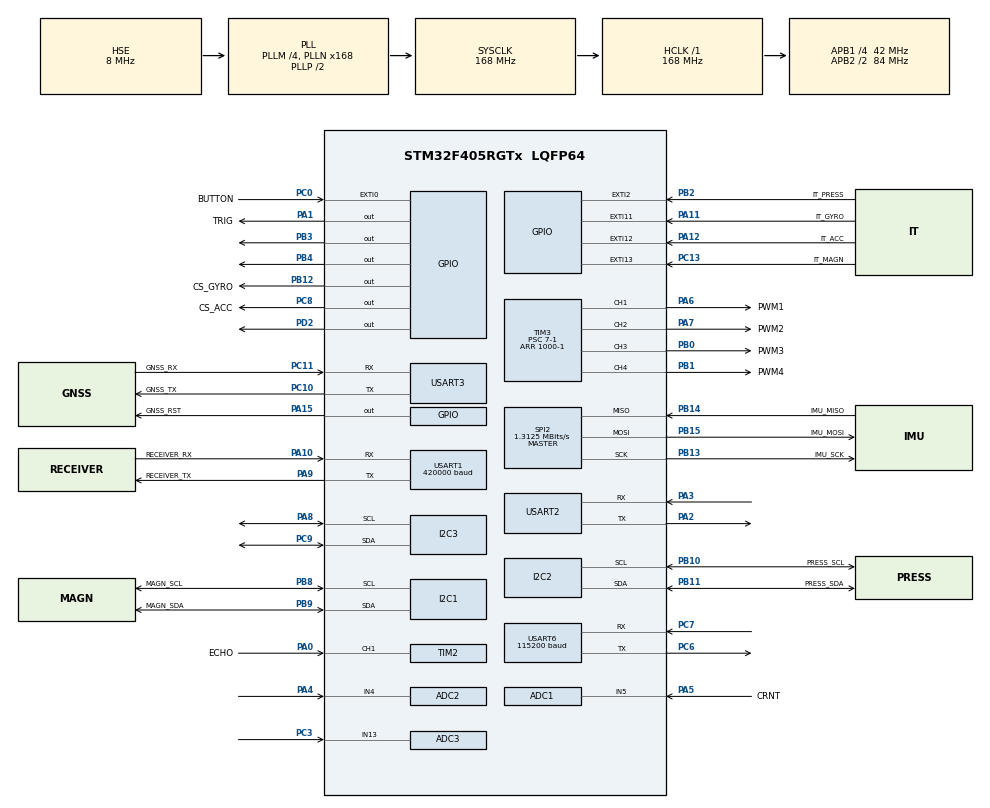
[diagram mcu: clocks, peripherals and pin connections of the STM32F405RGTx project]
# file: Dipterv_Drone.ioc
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ADC1.Channel-0\#ChannelRegularConversion=ADC_CHANNEL_5
ADC1.ClockPrescaler=ADC_CLOCK_SYNC_PCLK_DIV6
ADC1.NbrOfConversionFlag=1
ADC1.Rank-0\#ChannelRegularConversion=1
ADC1.SamplingTime-0\#ChannelRegularConversion=ADC_SAMPLETIME_3CYCLES
ADC1.master=1
ADC2.Channel-0\#ChannelRegularConversion=ADC_CHANNEL_4
ADC2.ClockPrescaler=ADC_CLOCK_SYNC_PCLK_DIV6
ADC2.NbrOfConversionFlag=1
ADC2.Rank-0\#ChannelRegularConversion=1
ADC2.SamplingTime-0\#ChannelRegularConversion=ADC_SAMPLETIME_3CYCLES
ADC3.Channel-0\#ChannelRegularConversion=ADC_CHANNEL_13
ADC3.ClockPrescaler=ADC_CLOCK_SYNC_PCLK_DIV6
ADC3.NbrOfConversionFlag=1
ADC3.Rank-0\#ChannelRegularConversion=1
ADC3.SamplingTime-0\#ChannelRegularConversion=ADC_SAMPLETIME_3CYCLES
Dma.Request0=USART1_RX
Dma.USART1_RX.0.Direction=DMA_PERIPH_TO_MEMORY
Dma.USART1_RX.0.FIFOMode=DMA_FIFOMODE_DISABLE
Dma.USART1_RX.0.Instance=DMA2_Stream2
Dma.USART1_RX.0.MemDataAlignment=DMA_MDATAALIGN_BYTE
Dma.USART1_RX.0.MemInc=DMA_MINC_ENABLE
Dma.USART1_RX.0.Mode=DMA_CIRCULAR
Dma.USART1_RX.0.PeriphDataAlignment=DMA_PDATAALIGN_BYTE
Dma.USART1_RX.0.PeriphInc=DMA_PINC_DISABLE
Dma.USART1_RX.0.Priority=DMA_PRIORITY_MEDIUM
FREERTOS.Tasks01=defaultTask,-1,500,StartDefaultTask,Default,NULL,Dynamic,NULL,NULL;Control,0,600,Start_Control,Default,NULL,Dynamic,NULL,NULL
I2C1.I2C_Mode=I2C_Fast
I2C2.I2C_Mode=I2C_Fast
I2C3.I2C_Mode=I2C_Fast
Mcu.Family=STM32F4
Mcu.Name=STM32F405RGTx
Mcu.Package=LQFP64
NVIC.DMA2_Stream2_IRQn=true\:5\:0\:false\:false\:true\:true\:false\:true\:true
NVIC.EXTI0_IRQn=true\:5\:0\:false\:false\:true\:true\:true\:true\:true
NVIC.EXTI15_10_IRQn=true\:5\:0\:false\:false\:true\:true\:true\:true\:true
NVIC.EXTI2_IRQn=true\:5\:0\:false\:false\:true\:true\:true\:true\:true
NVIC.PriorityGroup=NVIC_PRIORITYGROUP_4
NVIC.TIM2_IRQn=true\:5\:0\:false\:false\:true\:true\:true\:true\:true
NVIC.TIM6_DAC_IRQn=true\:5\:0\:false\:false\:true\:true\:true\:true\:true
NVIC.TIM7_IRQn=true\:5\:0\:false\:false\:true\:true\:true\:true\:true
NVIC.USART2_IRQn=true\:5\:0\:false\:false\:true\:true\:true\:true\:true
PA0-WKUP.GPIO_Label=ECHO
PA0-WKUP.Signal=S_TIM2_CH1_ETR
PA1.GPIO_Label=TRIG
PA1.Signal=GPIO_Output
PA10.GPIO_Label=RECEIVER_RX
PA10.Mode=Asynchronous
PA10.Signal=USART1_RX
PA11.GPIO_Label=IT_GYRO
PA11.GPIO_PuPd=GPIO_NOPULL
PA11.Signal=GPXTI11
PA12.GPIO_Label=IT_ACC
PA12.Signal=GPXTI12
PA13.Mode=Serial_Wire
PA13.Signal=SYS_JTMS-SWDIO
PA14.Mode=Serial_Wire
PA14.Signal=SYS_JTCK-SWCLK
PA15.GPIO_Label=GNSS_RST
PA15.Signal=GPIO_Output
PA2.Mode=Asynchronous
PA2.Signal=USART2_TX
PA3.Mode=Asynchronous
PA3.Signal=USART2_RX
PA4.Signal=ADCx_IN4
PA5.GPIO_Label=CRNT
PA5.Signal=ADCx_IN5
PA6.GPIO_Label=PWM1
PA6.Signal=S_TIM3_CH1
PA7.GPIO_Label=PWM2
PA7.Signal=S_TIM3_CH2
PA8.Mode=I2C
PA8.Signal=I2C3_SCL
PA9.GPIO_Label=RECEIVER_TX
PA9.Mode=Asynchronous
PA9.Signal=USART1_TX
PB0.GPIO_Label=PWM3
PB0.Signal=S_TIM3_CH3
PB1.GPIO_Label=PWM4
PB1.Signal=S_TIM3_CH4
PB10.GPIO_Label=PRESS_SCL
PB10.Mode=I2C
PB10.Signal=I2C2_SCL
PB11.GPIO_Label=PRESS_SDA
PB11.Mode=I2C
PB11.Signal=I2C2_SDA
PB12.GPIO_Label=CS_GYRO
PB12.Signal=GPIO_Output
PB13.GPIO_Label=IMU_SCK
PB13.Mode=Full_Duplex_Master
PB13.Signal=SPI2_SCK
PB14.GPIO_Label=IMU_MISO
PB14.Mode=Full_Duplex_Master
PB14.Signal=SPI2_MISO
PB15.GPIO_Label=IMU_MOSI
PB15.Mode=Full_Duplex_Master
PB15.Signal=SPI2_MOSI
PB2.GPIO_Label=IT_PRESS
PB2.Signal=GPXTI2
PB3.Signal=GPIO_Output
PB4.Signal=GPIO_Output
PB8.GPIO_Label=MAGN_SCL
PB8.Mode=I2C
PB8.Signal=I2C1_SCL
PB9.GPIO_Label=MAGN_SDA
PB9.Mode=I2C
PB9.Signal=I2C1_SDA
PC0.GPIO_Label=BUTTON
PC0.Signal=GPXTI0
PC10.GPIO_Label=GNSS_TX
PC10.Mode=Asynchronous
PC10.Signal=USART3_TX
PC11.GPIO_Label=GNSS_RX
PC11.Mode=Asynchronous
PC11.Signal=USART3_RX
PC13-ANTI_TAMP.GPIO_Label=IT_MAGN
PC13-ANTI_TAMP.Signal=GPXTI13
PC3.Signal=ADCx_IN13
PC6.Mode=Asynchronous
PC6.Signal=USART6_TX
PC7.Mode=Asynchronous
PC7.Signal=USART6_RX
PC8.GPIO_Label=CS_ACC
PC8.Signal=GPIO_Output
PC9.Mode=I2C
PC9.Signal=I2C3_SDA
PD2.Signal=GPIO_Output
PH0-OSC_IN.Mode=HSE-External-Oscillator
PH0-OSC_IN.Signal=RCC_OSC_IN
PH1-OSC_OUT.Mode=HSE-External-Oscillator
PH1-OSC_OUT.Signal=RCC_OSC_OUT
ProjectManager.HeapSize=0x200
ProjectManager.StackSize=0x400
ProjectManager.TargetToolchain=STM32CubeIDE
RCC.48MHZClocksFreq_Value=84000000
RCC.AHBFreq_Value=168000000
RCC.APB1CLKDivider=RCC_HCLK_DIV4
RCC.APB1Freq_Value=42000000
RCC.APB1TimFreq_Value=84000000
RCC.APB2CLKDivider=RCC_HCLK_DIV2
RCC.APB2Freq_Value=84000000
RCC.APB2TimFreq_Value=168000000
RCC.CortexFreq_Value=168000000
RCC.HCLKFreq_Value=168000000
RCC.HSE_VALUE=8000000
RCC.HSI_VALUE=16000000
RCC.LSE_VALUE=32768
RCC.PLLM=4
RCC.PLLN=168
RCC.PLLSourceVirtual=RCC_PLLSOURCE_HSE
RCC.SYSCLKFreq_VALUE=168000000
RCC.SYSCLKSource=RCC_SYSCLKSOURCE_PLLCLK
RCC.VCOOutputFreq_Value=336000000
SH.ADCx_IN13.0=ADC3_IN13,IN13
SH.ADCx_IN4.0=ADC2_IN4,IN4
SH.ADCx_IN5.0=ADC1_IN5,IN5
SH.S_TIM2_CH1_ETR.0=TIM2_CH1,Input_Capture1_from_TI1
SH.S_TIM3_CH1.0=TIM3_CH1,PWM Generation1 CH1
SH.S_TIM3_CH2.0=TIM3_CH2,PWM Generation2 CH2
SH.S_TIM3_CH3.0=TIM3_CH3,PWM Generation3 CH3
SH.S_TIM3_CH4.0=TIM3_CH4,PWM Generation4 CH4
SPI2.BaudRatePrescaler=SPI_BAUDRATEPRESCALER_32
SPI2.CLKPhase=SPI_PHASE_1EDGE
SPI2.CLKPolarity=SPI_POLARITY_LOW
SPI2.CalculateBaudRate=1.3125 MBits/s
SPI2.DataSize=SPI_DATASIZE_8BIT
SPI2.Direction=SPI_DIRECTION_2LINES
SPI2.FirstBit=SPI_FIRSTBIT_MSB
SPI2.Mode=SPI_MODE_MASTER
SPI2.VirtualType=VM_MASTER
TIM10.Prescaler=168-1
TIM2.Channel-Input_Capture1_from_TI1=TIM_CHANNEL_1
TIM2.Period=1000-1
TIM2.Prescaler=84-1
TIM3.Channel-PWM\ Generation1\ CH1=TIM_CHANNEL_1
TIM3.Channel-PWM\ Generation2\ CH2=TIM_CHANNEL_2
TIM3.Channel-PWM\ Generation3\ CH3=TIM_CHANNEL_3
TIM3.Channel-PWM\ Generation4\ CH4=TIM_CHANNEL_4
TIM3.Period=1000-1
TIM3.Prescaler=7-1
TIM4.Channel-PWM\ Generation1\ No\ Output=TIM_CHANNEL_1
TIM6.Period=65000
TIM6.Prescaler=84-1
TIM7.Period=10000-1
TIM7.Prescaler=85-1
USART1.BaudRate=420000
USART1.Parity=PARITY_NONE
USART1.StopBits=STOPBITS_1
USART1.VirtualMode=VM_ASYNC
USART2.VirtualMode=VM_ASYNC
USART3.VirtualMode=VM_ASYNC
USART6.BaudRate=115200
USART6.VirtualMode=VM_ASYNC
VP_FREERTOS_VS_CMSIS_V1.Mode=CMSIS_V1
VP_TIM10_VS_ClockSourceINT.Mode=Enable_Timer
VP_TIM2_VS_ClockSourceINT.Mode=Internal
VP_TIM3_VS_ClockSourceINT.Mode=Internal
VP_TIM3_VS_ClockSourceITR.Mode=TriggerSource_ITR3
VP_TIM4_VS_ClockSourceINT.Mode=Internal
VP_TIM4_VS_no_output1.Mode=PWM Generation1 No Output
VP_TIM6_VS_ClockSourceINT.Mode=Enable_Timer
VP_TIM7_VS_ClockSourceINT.Mode=Enable_Timer
board=custom

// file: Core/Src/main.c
/* USER CODE BEGIN Header */
/**
  ******************************************************************************
  * @file           : main.c
  * @brief          : Main program body
  ******************************************************************************
  * @attention
  *
  * Copyright (c) 2023 STMicroelectronics.
  * All rights reserved.
  *
  * This software is licensed under terms that can be found in the LICENSE file
  * in the root directory of this software component.
  * If no LICENSE file comes with this software, it is provided AS-IS.
  *
  ******************************************************************************
  */
/* USER CODE END Header */
#include "main.h"
#include "cmsis_os.h"

/* USER CODE BEGIN Includes */
#include "stm32f4xx_hal.h"
#include "BMI088.h"
#include "BMP388.h"
//#include "BMM150.h"
#include "ESC.h"
#include "Orifilter.h"
#include "oriIMU.h"
#include "Fusion.h"
#include "Altitude_filter.h"
#include <stdbool.h>
#include <stdio.h>

#include "bmm150.h"
#include "bmm150_common.h"
#include "bmm150_defs.h"

/* USER CODE END Includes */

/* USER CODE BEGIN PD */
#define SAMPLE_PERIOD 0.005f // replace this with actual sample period
#define ground_pressure 101325
/* USER CODE END PD */

ADC_HandleTypeDef hadc1;
ADC_HandleTypeDef hadc2;
ADC_HandleTypeDef hadc3;

I2C_HandleTypeDef hi2c1;
I2C_HandleTypeDef hi2c2;
I2C_HandleTypeDef hi2c3;

SPI_HandleTypeDef hspi2;

TIM_HandleTypeDef htim2;
TIM_HandleTypeDef htim3;
TIM_HandleTypeDef htim4;
TIM_HandleTypeDef htim6;
TIM_HandleTypeDef htim7;
TIM_HandleTypeDef htim10;

UART_HandleTypeDef huart1;
UART_HandleTypeDef huart2;
UART_HandleTypeDef huart3;
UART_HandleTypeDef huart6;
DMA_HandleTypeDef hdma_usart1_rx;

osThreadId defaultTaskHandle;
osThreadId ControlHandle;
/* USER CODE BEGIN PV */

/* Initialise inertial measurement unit */
  //BMI088_Init(&imu, &hspi2, CS_GYRO_GPIO_Port, CS_GYRO_Pin, GPIOC, SPI1_NCS_GYR_Pin);

BMI088 imu;
BMP388_HandleTypeDef bmp;
//BMM150 bmm;
//BMM150_trim_data trim_data;
int16_t field_x;
int16_t field_y;
int16_t field_z;
uint16_t Rhall;
float mag_data_x = 0;
float mag_data_y = 0;
float mag_data_z = 0;

uint8_t billent = 0;

uint32_t raw_press;
uint32_t raw_temp;
uint32_t raw_time;
float press;
float temp;
float hz = 0;
float h0 = 0;
float p0 = 0;

//filter objects
float gyro_x_degree = 0;
float gyro_y_degree = 0;
float gyro_z_degree = 0;
quaternion q;
flux f;
w_err w;
float roll;
float pitch;
float yaw;
float prev_yaw = 0;
float yaw_offset = 0;
float yaw_zero_offset = 0;
float abs_yaw = 0;
FusionAhrs ahrs;
FusionEuler euler;
FusionMatrix ERS;
FusionVector aE;

//2D KF

KF_Matrix21 prev_state = {0,0};
KF_Matrix21 current_state = {0,0};
KF_Matrix22 P_prev = {0,0,0,0};
KF_Matrix22 P = {0,0,0,0};
KF_Matrix21 meas = {0,0};

//distance measurement
uint32_t IC_Val1 = 0;
uint32_t IC_Val2 = 0;
uint32_t Difference = 0;
uint8_t Is_First_Captured = 0;  // is the first value captured ?
uint8_t Distance  = 0;

//telemetria
uint8_t telem[8] = {15};
uint8_t uart_telemetria = 0;
float telem_P = 0;
float telem_D = 0;
uint8_t new_P = 0;
uint8_t new_D = 0;
uint8_t telemetria_data_sent = 0;

//order flags
uint8_t readstart = 1;
uint8_t oricalc = 0;

// debug variables
float gyro_debug[500] = {15};
int gyro_i = 0;
int debug_i = 0;
uint8_t timerse = 0;
uint8_t state = 1;
int mytimer;

float m_alfa = 0;
float m_beta = 0;
float m_gamma = 0;
float xy2 = 0;
int offset_i = 0;
double gyro_offset_x_calc = 0;
double gyro_offset_y_calc = 0;
double gyro_offset_z_calc = 0;
double acc_offset_x_calc = 0;
double acc_offset_y_calc = 0;
double acc_offset_z_calc = 0;
double gyro_offset_x = 0;
double gyro_offset_y = 0;
double gyro_offset_z = 0;
double acc_offset_x = 0;
double acc_offset_y = 0;
double acc_offset_z = 0;
float mag_debug_x[1000];
float mag_debug_y[1000];
int i_mag = 0;

//ESC ref throttle params
uint16_t ref1;
uint16_t ref2;
uint16_t ref3;
uint16_t ref4;

uint8_t CRSF_debug[64] = {0};
uint8_t CRSF_i = 0;
uint8_t UART1_rxBuffer[1] = {0};
uint8_t bytetoread = 1;
uint16_t RX_roll = 0;
uint16_t RX_pitch = 0;
uint16_t RX_yaw = 0;
uint16_t RX_throttle = 0;
uint16_t RX_arm = 0;

float M_throttle, M_pitch, M_roll, M_yaw;
float debug_control1, debug_control2;

QueueHandle_t telemetria_Queue;

/* USER CODE END PV */

void SystemClock_Config(void);
static void MX_GPIO_Init(void);
static void MX_DMA_Init(void);
static void MX_TIM2_Init(void);
static void MX_USART2_UART_Init(void);
static void MX_I2C1_Init(void);
static void MX_I2C2_Init(void);
static void MX_I2C3_Init(void);
static void MX_TIM3_Init(void);
static void MX_TIM4_Init(void);
static void MX_USART1_UART_Init(void);
static void MX_USART3_UART_Init(void);
static void MX_SPI2_Init(void);
static void MX_USART6_UART_Init(void);
static void MX_ADC1_Init(void);
static void MX_ADC2_Init(void);
static void MX_ADC3_Init(void);
static void MX_TIM6_Init(void);
static void MX_TIM7_Init(void);
static void MX_TIM10_Init(void);
void StartDefaultTask(void const * argument);
void Start_Control(void const * argument);

/* USER CODE BEGIN 0 */
static int8_t set_config(struct bmm150_dev *dev);
/* USER CODE END 0 */

int main(void)
{

  /* MCU Configuration--------------------------------------------------------*/

  /* Reset of all peripherals, Initializes the Flash interface and the Systick. */
  HAL_Init();

  /* Configure the system clock */
  SystemClock_Config();

  /* Initialize all configured peripherals */
  MX_GPIO_Init();
  MX_DMA_Init();
  MX_TIM2_Init();
  MX_USART2_UART_Init();
  MX_I2C1_Init();
  MX_I2C2_Init();
  MX_I2C3_Init();
  MX_TIM3_Init();
  MX_TIM4_Init();
  MX_USART1_UART_Init();
  MX_USART3_UART_Init();
  MX_SPI2_Init();
  MX_USART6_UART_Init();
  MX_ADC1_Init();
  MX_ADC2_Init();
  MX_ADC3_Init();
  MX_TIM6_Init();
  MX_TIM7_Init();
  MX_TIM10_Init();
  /* USER CODE BEGIN 2 */

  __HAL_SPI_ENABLE(&hspi2);
  HAL_TIM_PWM_Start  ( &htim3,  TIM_CHANNEL_1  );
  HAL_TIM_PWM_Start  ( &htim3,  TIM_CHANNEL_2  );
  HAL_TIM_PWM_Start  ( &htim3,  TIM_CHANNEL_3  );
  HAL_TIM_PWM_Start  ( &htim3,  TIM_CHANNEL_4  );

  HAL_TIM_Base_Start  ( &htim10 );

  /* USER CODE END 2 */

  /* USER CODE BEGIN RTOS_QUEUES */
  telemetria_Queue = xQueueCreate( 3, 3*sizeof( float ) );
  /* USER CODE END RTOS_QUEUES */

  /* Create the thread(s) */
  /* definition and creation of defaultTask */
  osThreadDef(defaultTask, StartDefaultTask, osPriorityBelowNormal, 0, 500);
  defaultTaskHandle = osThreadCreate(osThread(defaultTask), NULL);

  /* definition and creation of Control */
  osThreadDef(Control, Start_Control, osPriorityNormal, 0, 600);
  ControlHandle = osThreadCreate(osThread(Control), NULL);

  /* Start scheduler */
  osKernelStart();

  /* We should never get here as control is now taken by the scheduler */
  /* Infinite loop */
  /* USER CODE BEGIN WHILE */

  while (1)
  {

	  HAL_GPIO_TogglePin(GPIOB, GPIO_PIN_3);

	  HAL_Delay(3);

    /* USER CODE END WHILE */

  }
}

void SystemClock_Config(void)
{
  RCC_OscInitTypeDef RCC_OscInitStruct = {0};
  RCC_ClkInitTypeDef RCC_ClkInitStruct = {0};

  /** Configure the main internal regulator output voltage
  */
  __HAL_RCC_PWR_CLK_ENABLE();
  __HAL_PWR_VOLTAGESCALING_CONFIG(PWR_REGULATOR_VOLTAGE_SCALE1);

  /** Initializes the RCC Oscillators according to the specified parameters
  * in the RCC_OscInitTypeDef structure.
  */
  RCC_OscInitStruct.OscillatorType = RCC_OSCILLATORTYPE_HSE;
  RCC_OscInitStruct.HSEState = RCC_HSE_ON;
  RCC_OscInitStruct.PLL.PLLState = RCC_PLL_ON;
  RCC_OscInitStruct.PLL.PLLSource = RCC_PLLSOURCE_HSE;
  RCC_OscInitStruct.PLL.PLLM = 4;
  RCC_OscInitStruct.PLL.PLLN = 168;
  RCC_OscInitStruct.PLL.PLLP = RCC_PLLP_DIV2;
  RCC_OscInitStruct.PLL.PLLQ = 4;
  if (HAL_RCC_OscConfig(&RCC_OscInitStruct) != HAL_OK)
  {
    Error_Handler();
  }

  /** Initializes the CPU, AHB and APB buses clocks
  */
  RCC_ClkInitStruct.ClockType = RCC_CLOCKTYPE_HCLK|RCC_CLOCKTYPE_SYSCLK
                              |RCC_CLOCKTYPE_PCLK1|RCC_CLOCKTYPE_PCLK2;
  RCC_ClkInitStruct.SYSCLKSource = RCC_SYSCLKSOURCE_PLLCLK;
  RCC_ClkInitStruct.AHBCLKDivider = RCC_SYSCLK_DIV1;
  RCC_ClkInitStruct.APB1CLKDivider = RCC_HCLK_DIV4;
  RCC_ClkInitStruct.APB2CLKDivider = RCC_HCLK_DIV2;

  if (HAL_RCC_ClockConfig(&RCC_ClkInitStruct, FLASH_LATENCY_5) != HAL_OK)
  {
    Error_Handler();
  }
}

static void MX_ADC1_Init(void)
{

  ADC_ChannelConfTypeDef sConfig = {0};

  /** Configure the global features of the ADC (Clock, Resolution, Data Alignment and number of conversion)
  */
  hadc1.Instance = ADC1;
  hadc1.Init.ClockPrescaler = ADC_CLOCK_SYNC_PCLK_DIV6;
  hadc1.Init.Resolution = ADC_RESOLUTION_12B;
  hadc1.Init.ScanConvMode = DISABLE;
  hadc1.Init.ContinuousConvMode = DISABLE;
  hadc1.Init.DiscontinuousConvMode = DISABLE;
  hadc1.Init.ExternalTrigConvEdge = ADC_EXTERNALTRIGCONVEDGE_NONE;
  hadc1.Init.ExternalTrigConv = ADC_SOFTWARE_START;
  hadc1.Init.DataAlign = ADC_DATAALIGN_RIGHT;
  hadc1.Init.NbrOfConversion = 1;
  hadc1.Init.DMAContinuousRequests = DISABLE;
  hadc1.Init.EOCSelection = ADC_EOC_SINGLE_CONV;
  if (HAL_ADC_Init(&hadc1) != HAL_OK)
  {
    Error_Handler();
  }

  /** Configure for the selected ADC regular channel its corresponding rank in the sequencer and its sample time.
  */
  sConfig.Channel = ADC_CHANNEL_5;
  sConfig.Rank = 1;
  sConfig.SamplingTime = ADC_SAMPLETIME_3CYCLES;
  if (HAL_ADC_ConfigChannel(&hadc1, &sConfig) != HAL_OK)
  {
    Error_Handler();
  }

}

static void MX_ADC2_Init(void)
{

  ADC_ChannelConfTypeDef sConfig = {0};

  /** Configure the global features of the ADC (Clock, Resolution, Data Alignment and number of conversion)
  */
  hadc2.Instance = ADC2;
  hadc2.Init.ClockPrescaler = ADC_CLOCK_SYNC_PCLK_DIV6;
  hadc2.Init.Resolution = ADC_RESOLUTION_12B;
  hadc2.Init.ScanConvMode = DISABLE;
  hadc2.Init.ContinuousConvMode = DISABLE;
  hadc2.Init.DiscontinuousConvMode = DISABLE;
  hadc2.Init.ExternalTrigConvEdge = ADC_EXTERNALTRIGCONVEDGE_NONE;
  hadc2.Init.ExternalTrigConv = ADC_SOFTWARE_START;
  hadc2.Init.DataAlign = ADC_DATAALIGN_RIGHT;
  hadc2.Init.NbrOfConversion = 1;
  hadc2.Init.DMAContinuousRequests = DISABLE;
  hadc2.Init.EOCSelection = ADC_EOC_SINGLE_CONV;
  if (HAL_ADC_Init(&hadc2) != HAL_OK)
  {
    Error_Handler();
  }

  /** Configure for the selected ADC regular channel its corresponding rank in the sequencer and its sample time.
  */
  sConfig.Channel = ADC_CHANNEL_4;
  sConfig.Rank = 1;
  sConfig.SamplingTime = ADC_SAMPLETIME_3CYCLES;
  if (HAL_ADC_ConfigChannel(&hadc2, &sConfig) != HAL_OK)
  {
    Error_Handler();
  }

}

static void MX_ADC3_Init(void)
{

  ADC_ChannelConfTypeDef sConfig = {0};

  /** Configure the global features of the ADC (Clock, Resolution, Data Alignment and number of conversion)
  */
  hadc3.Instance = ADC3;
  hadc3.Init.ClockPrescaler = ADC_CLOCK_SYNC_PCLK_DIV6;
  hadc3.Init.Resolution = ADC_RESOLUTION_12B;
  hadc3.Init.ScanConvMode = DISABLE;
  hadc3.Init.ContinuousConvMode = DISABLE;
  hadc3.Init.DiscontinuousConvMode = DISABLE;
  hadc3.Init.ExternalTrigConvEdge = ADC_EXTERNALTRIGCONVEDGE_NONE;
  hadc3.Init.ExternalTrigConv = ADC_SOFTWARE_START;
  hadc3.Init.DataAlign = ADC_DATAALIGN_RIGHT;
  hadc3.Init.NbrOfConversion = 1;
  hadc3.Init.DMAContinuousRequests = DISABLE;
  hadc3.Init.EOCSelection = ADC_EOC_SINGLE_CONV;
  if (HAL_ADC_Init(&hadc3) != HAL_OK)
  {
    Error_Handler();
  }

  /** Configure for the selected ADC regular channel its corresponding rank in the sequencer and its sample time.
  */
  sConfig.Channel = ADC_CHANNEL_13;
  sConfig.Rank = 1;
  sConfig.SamplingTime = ADC_SAMPLETIME_3CYCLES;
  if (HAL_ADC_ConfigChannel(&hadc3, &sConfig) != HAL_OK)
  {
    Error_Handler();
  }

}

static void MX_I2C1_Init(void)
{

  hi2c1.Instance = I2C1;
  hi2c1.Init.ClockSpeed = 400000;
  hi2c1.Init.DutyCycle = I2C_DUTYCYCLE_2;
  hi2c1.Init.OwnAddress1 = 0;
  hi2c1.Init.AddressingMode = I2C_ADDRESSINGMODE_7BIT;
  hi2c1.Init.DualAddressMode = I2C_DUALADDRESS_DISABLE;
  hi2c1.Init.OwnAddress2 = 0;
  hi2c1.Init.GeneralCallMode = I2C_GENERALCALL_DISABLE;
  hi2c1.Init.NoStretchMode = I2C_NOSTRETCH_DISABLE;
  if (HAL_I2C_Init(&hi2c1) != HAL_OK)
  {
    Error_Handler();
  }

}

static void MX_I2C2_Init(void)
{

  hi2c2.Instance = I2C2;
  hi2c2.Init.ClockSpeed = 400000;
  hi2c2.Init.DutyCycle = I2C_DUTYCYCLE_2;
  hi2c2.Init.OwnAddress1 = 0;
  hi2c2.Init.AddressingMode = I2C_ADDRESSINGMODE_7BIT;
  hi2c2.Init.DualAddressMode = I2C_DUALADDRESS_DISABLE;
  hi2c2.Init.OwnAddress2 = 0;
  hi2c2.Init.GeneralCallMode = I2C_GENERALCALL_DISABLE;
  hi2c2.Init.NoStretchMode = I2C_NOSTRETCH_DISABLE;
  if (HAL_I2C_Init(&hi2c2) != HAL_OK)
  {
    Error_Handler();
  }

}

static void MX_I2C3_Init(void)
{

  hi2c3.Instance = I2C3;
  hi2c3.Init.ClockSpeed = 400000;
  hi2c3.Init.DutyCycle = I2C_DUTYCYCLE_2;
  hi2c3.Init.OwnAddress1 = 0;
  hi2c3.Init.AddressingMode = I2C_ADDRESSINGMODE_7BIT;
  hi2c3.Init.DualAddressMode = I2C_DUALADDRESS_DISABLE;
  hi2c3.Init.OwnAddress2 = 0;
  hi2c3.Init.GeneralCallMode = I2C_GENERALCALL_DISABLE;
  hi2c3.Init.NoStretchMode = I2C_NOSTRETCH_DISABLE;
  if (HAL_I2C_Init(&hi2c3) != HAL_OK)
  {
    Error_Handler();
  }

}

static void MX_SPI2_Init(void)
{

  /* SPI2 parameter configuration*/
  hspi2.Instance = SPI2;
  hspi2.Init.Mode = SPI_MODE_MASTER;
  hspi2.Init.Direction = SPI_DIRECTION_2LINES;
  hspi2.Init.DataSize = SPI_DATASIZE_8BIT;
  hspi2.Init.CLKPolarity = SPI_POLARITY_LOW;
  hspi2.Init.CLKPhase = SPI_PHASE_1EDGE;
  hspi2.Init.NSS = SPI_NSS_SOFT;
  hspi2.Init.BaudRatePrescaler = SPI_BAUDRATEPRESCALER_32;
  hspi2.Init.FirstBit = SPI_FIRSTBIT_MSB;
  hspi2.Init.TIMode = SPI_TIMODE_DISABLE;
  hspi2.Init.CRCCalculation = SPI_CRCCALCULATION_DISABLE;
  hspi2.Init.CRCPolynomial = 10;
  if (HAL_SPI_Init(&hspi2) != HAL_OK)
  {
    Error_Handler();
  }

}

static void MX_TIM2_Init(void)
{

  TIM_ClockConfigTypeDef sClockSourceConfig = {0};
  TIM_MasterConfigTypeDef sMasterConfig = {0};
  TIM_IC_InitTypeDef sConfigIC = {0};

  htim2.Instance = TIM2;
  htim2.Init.Prescaler = 84-1;
  htim2.Init.CounterMode = TIM_COUNTERMODE_UP;
  htim2.Init.Period = 1000-1;
  htim2.Init.ClockDivision = TIM_CLOCKDIVISION_DIV1;
  htim2.Init.AutoReloadPreload = TIM_AUTORELOAD_PRELOAD_DISABLE;
  if (HAL_TIM_Base_Init(&htim2) != HAL_OK)
  {
    Error_Handler();
  }
  sClockSourceConfig.ClockSource = TIM_CLOCKSOURCE_INTERNAL;
  if (HAL_TIM_ConfigClockSource(&htim2, &sClockSourceConfig) != HAL_OK)
  {
    Error_Handler();
  }
  if (HAL_TIM_IC_Init(&htim2) != HAL_OK)
  {
    Error_Handler();
  }
  sMasterConfig.MasterOutputTrigger = TIM_TRGO_RESET;
  sMasterConfig.MasterSlaveMode = TIM_MASTERSLAVEMODE_DISABLE;
  if (HAL_TIMEx_MasterConfigSynchronization(&htim2, &sMasterConfig) != HAL_OK)
  {
    Error_Handler();
  }
  sConfigIC.ICPolarity = TIM_INPUTCHANNELPOLARITY_RISING;
  sConfigIC.ICSelection = TIM_ICSELECTION_DIRECTTI;
  sConfigIC.ICPrescaler = TIM_ICPSC_DIV1;
  sConfigIC.ICFilter = 0;
  if (HAL_TIM_IC_ConfigChannel(&htim2, &sConfigIC, TIM_CHANNEL_1) != HAL_OK)
  {
    Error_Handler();
  }

}

static void MX_TIM3_Init(void)
{

  TIM_ClockConfigTypeDef sClockSourceConfig = {0};
  TIM_SlaveConfigTypeDef sSlaveConfig = {0};
  TIM_MasterConfigTypeDef sMasterConfig = {0};
  TIM_OC_InitTypeDef sConfigOC = {0};

  htim3.Instance = TIM3;
  htim3.Init.Prescaler = 7-1;
  htim3.Init.CounterMode = TIM_COUNTERMODE_UP;
  htim3.Init.Period = 1000-1;
  htim3.Init.ClockDivision = TIM_CLOCKDIVISION_DIV1;
  htim3.Init.AutoReloadPreload = TIM_AUTORELOAD_PRELOAD_DISABLE;
  if (HAL_TIM_Base_Init(&htim3) != HAL_OK)
  {
    Error_Handler();
  }
  sClockSourceConfig.ClockSource = TIM_CLOCKSOURCE_INTERNAL;
  if (HAL_TIM_ConfigClockSource(&htim3, &sClockSourceConfig) != HAL_OK)
  {
    Error_Handler();
  }
  if (HAL_TIM_PWM_Init(&htim3) != HAL_OK)
  {
    Error_Handler();
  }
  sSlaveConfig.SlaveMode = TIM_SLAVEMODE_DISABLE;
  sSlaveConfig.InputTrigger = TIM_TS_ITR3;
  if (HAL_TIM_SlaveConfigSynchro(&htim3, &sSlaveConfig) != HAL_OK)
  {
    Error_Handler();
  }
  sMasterConfig.MasterOutputTrigger = TIM_TRGO_RESET;
  sMasterConfig.MasterSlaveMode = TIM_MASTERSLAVEMODE_DISABLE;
  if (HAL_TIMEx_MasterConfigSynchronization(&htim3, &sMasterConfig) != HAL_OK)
  {
    Error_Handler();
  }
  sConfigOC.OCMode = TIM_OCMODE_PWM1;
  sConfigOC.Pulse = 0;
  sConfigOC.OCPolarity = TIM_OCPOLARITY_HIGH;
  sConfigOC.OCFastMode = TIM_OCFAST_DISABLE;
  if (HAL_TIM_PWM_ConfigChannel(&htim3, &sConfigOC, TIM_CHANNEL_1) != HAL_OK)
  {
    Error_Handler();
  }
  if (HAL_TIM_PWM_ConfigChannel(&htim3, &sConfigOC, TIM_CHANNEL_2) != HAL_OK)
  {
    Error_Handler();
  }
  if (HAL_TIM_PWM_ConfigChannel(&htim3, &sConfigOC, TIM_CHANNEL_3) != HAL_OK)
  {
    Error_Handler();
  }
  if (HAL_TIM_PWM_ConfigChannel(&htim3, &sConfigOC, TIM_CHANNEL_4) != HAL_OK)
  {
    Error_Handler();
  }
  HAL_TIM_MspPostInit(&htim3);

}

static void MX_TIM4_Init(void)
{

  TIM_ClockConfigTypeDef sClockSourceConfig = {0};
  TIM_MasterConfigTypeDef sMasterConfig = {0};
  TIM_OC_InitTypeDef sConfigOC = {0};

  htim4.Instance = TIM4;
  htim4.Init.Prescaler = 0;
  htim4.Init.CounterMode = TIM_COUNTERMODE_UP;
  htim4.Init.Period = 65535;
  htim4.Init.ClockDivision = TIM_CLOCKDIVISION_DIV1;
  htim4.Init.AutoReloadPreload = TIM_AUTORELOAD_PRELOAD_DISABLE;
  if (HAL_TIM_Base_Init(&htim4) != HAL_OK)
  {
    Error_Handler();
  }
  sClockSourceConfig.ClockSource = TIM_CLOCKSOURCE_INTERNAL;
  if (HAL_TIM_ConfigClockSource(&htim4, &sClockSourceConfig) != HAL_OK)
  {
    Error_Handler();
  }
  if (HAL_TIM_PWM_Init(&htim4) != HAL_OK)
  {
    Error_Handler();
  }
  sMasterConfig.MasterOutputTrigger = TIM_TRGO_RESET;
  sMasterConfig.MasterSlaveMode = TIM_MASTERSLAVEMODE_DISABLE;
  if (HAL_TIMEx_MasterConfigSynchronization(&htim4, &sMasterConfig) != HAL_OK)
  {
    Error_Handler();
  }
  sConfigOC.OCMode = TIM_OCMODE_PWM1;
  sConfigOC.Pulse = 0;
  sConfigOC.OCPolarity = TIM_OCPOLARITY_HIGH;
  sConfigOC.OCFastMode = TIM_OCFAST_DISABLE;
  if (HAL_TIM_PWM_ConfigChannel(&htim4, &sConfigOC, TIM_CHANNEL_1) != HAL_OK)
  {
    Error_Handler();
  }

}

static void MX_TIM6_Init(void)
{

  TIM_MasterConfigTypeDef sMasterConfig = {0};

  htim6.Instance = TIM6;
  htim6.Init.Prescaler = 84-1;
  htim6.Init.CounterMode = TIM_COUNTERMODE_UP;
  htim6.Init.Period = 65000;
  htim6.Init.AutoReloadPreload = TIM_AUTORELOAD_PRELOAD_DISABLE;
  if (HAL_TIM_Base_Init(&htim6) != HAL_OK)
  {
    Error_Handler();
  }
  sMasterConfig.MasterOutputTrigger = TIM_TRGO_RESET;
  sMasterConfig.MasterSlaveMode = TIM_MASTERSLAVEMODE_DISABLE;
  if (HAL_TIMEx_MasterConfigSynchronization(&htim6, &sMasterConfig) != HAL_OK)
  {
    Error_Handler();
  }

}

static void MX_TIM7_Init(void)
{

  TIM_MasterConfigTypeDef sMasterConfig = {0};

  htim7.Instance = TIM7;
  htim7.Init.Prescaler = 85-1;
  htim7.Init.CounterMode = TIM_COUNTERMODE_UP;
  htim7.Init.Period = 10000-1;
  htim7.Init.AutoReloadPreload = TIM_AUTORELOAD_PRELOAD_DISABLE;
  if (HAL_TIM_Base_Init(&htim7) != HAL_OK)
  {
    Error_Handler();
  }
  sMasterConfig.MasterOutputTrigger = TIM_TRGO_RESET;
  sMasterConfig.MasterSlaveMode = TIM_MASTERSLAVEMODE_DISABLE;
  if (HAL_TIMEx_MasterConfigSynchronization(&htim7, &sMasterConfig) != HAL_OK)
  {
    Error_Handler();
  }

}

static void MX_TIM10_Init(void)
{

  htim10.Instance = TIM10;
  htim10.Init.Prescaler = 168-1;
  htim10.Init.CounterMode = TIM_COUNTERMODE_UP;
  htim10.Init.Period = 65535;
  htim10.Init.ClockDivision = TIM_CLOCKDIVISION_DIV1;
  htim10.Init.AutoReloadPreload = TIM_AUTORELOAD_PRELOAD_DISABLE;
  if (HAL_TIM_Base_Init(&htim10) != HAL_OK)
  {
    Error_Handler();
  }

}

static void MX_USART1_UART_Init(void)
{

  huart1.Instance = USART1;
  huart1.Init.BaudRate = 420000;
  huart1.Init.WordLength = UART_WORDLENGTH_8B;
  huart1.Init.StopBits = UART_STOPBITS_1;
  huart1.Init.Parity = UART_PARITY_NONE;
  huart1.Init.Mode = UART_MODE_TX_RX;
  huart1.Init.HwFlowCtl = UART_HWCONTROL_NONE;
  huart1.Init.OverSampling = UART_OVERSAMPLING_16;
  if (HAL_UART_Init(&huart1) != HAL_OK)
  {
    Error_Handler();
  }

}

static void MX_USART2_UART_Init(void)
{

  huart2.Instance = USART2;
  huart2.Init.BaudRate = 115200;
  huart2.Init.WordLength = UART_WORDLENGTH_8B;
  huart2.Init.StopBits = UART_STOPBITS_1;
  huart2.Init.Parity = UART_PARITY_NONE;
  huart2.Init.Mode = UART_MODE_TX_RX;
  huart2.Init.HwFlowCtl = UART_HWCONTROL_NONE;
  huart2.Init.OverSampling = UART_OVERSAMPLING_16;
  if (HAL_UART_Init(&huart2) != HAL_OK)
  {
    Error_Handler();
  }

}

static void MX_USART3_UART_Init(void)
{

  huart3.Instance = USART3;
  huart3.Init.BaudRate = 115200;
  huart3.Init.WordLength = UART_WORDLENGTH_8B;
  huart3.Init.StopBits = UART_STOPBITS_1;
  huart3.Init.Parity = UART_PARITY_NONE;
  huart3.Init.Mode = UART_MODE_TX_RX;
  huart3.Init.HwFlowCtl = UART_HWCONTROL_NONE;
  huart3.Init.OverSampling = UART_OVERSAMPLING_16;
  if (HAL_UART_Init(&huart3) != HAL_OK)
  {
    Error_Handler();
  }

}

static void MX_USART6_UART_Init(void)
{

  huart6.Instance = USART6;
  huart6.Init.BaudRate = 115200;
  huart6.Init.WordLength = UART_WORDLENGTH_8B;
  huart6.Init.StopBits = UART_STOPBITS_1;
  huart6.Init.Parity = UART_PARITY_NONE;
  huart6.Init.Mode = UART_MODE_TX_RX;
  huart6.Init.HwFlowCtl = UART_HWCONTROL_NONE;
  huart6.Init.OverSampling = UART_OVERSAMPLING_16;
  if (HAL_UART_Init(&huart6) != HAL_OK)
  {
    Error_Handler();
  }

}

static void MX_DMA_Init(void)
{

  /* DMA controller clock enable */
  __HAL_RCC_DMA2_CLK_ENABLE();

  /* DMA interrupt init */
  /* DMA2_Stream2_IRQn interrupt configuration */
  HAL_NVIC_SetPriority(DMA2_Stream2_IRQn, 5, 0);
  HAL_NVIC_EnableIRQ(DMA2_Stream2_IRQn);

}

static void MX_GPIO_Init(void)
{
  GPIO_InitTypeDef GPIO_InitStruct = {0};

  /* GPIO Ports Clock Enable */
  __HAL_RCC_GPIOC_CLK_ENABLE();
  __HAL_RCC_GPIOH_CLK_ENABLE();
  __HAL_RCC_GPIOA_CLK_ENABLE();
  __HAL_RCC_GPIOB_CLK_ENABLE();
  __HAL_RCC_GPIOD_CLK_ENABLE();

  /*Configure GPIO pin Output Level */
  HAL_GPIO_WritePin(GPIOA, TRIG_Pin|GNSS_RST_Pin, GPIO_PIN_RESET);

  /*Configure GPIO pin Output Level */
  HAL_GPIO_WritePin(GPIOB, CS_GYRO_Pin|GPIO_PIN_3|GPIO_PIN_4, GPIO_PIN_RESET);

  /*Configure GPIO pin Output Level */
  HAL_GPIO_WritePin(CS_ACC_GPIO_Port, CS_ACC_Pin, GPIO_PIN_RESET);

  /*Configure GPIO pin Output Level */
  HAL_GPIO_WritePin(GPIOD, GPIO_PIN_2, GPIO_PIN_RESET);

  /*Configure GPIO pins : IT_MAGN_Pin BUTTON_Pin */
  GPIO_InitStruct.Pin = IT_MAGN_Pin|BUTTON_Pin;
  GPIO_InitStruct.Mode = GPIO_MODE_IT_RISING;
  GPIO_InitStruct.Pull = GPIO_NOPULL;
  HAL_GPIO_Init(GPIOC, &GPIO_InitStruct);

  /*Configure GPIO pins : TRIG_Pin GNSS_RST_Pin */
  GPIO_InitStruct.Pin = TRIG_Pin|GNSS_RST_Pin;
  GPIO_InitStruct.Mode = GPIO_MODE_OUTPUT_PP;
  GPIO_InitStruct.Pull = GPIO_NOPULL;
  GPIO_InitStruct.Speed = GPIO_SPEED_FREQ_LOW;
  HAL_GPIO_Init(GPIOA, &GPIO_InitStruct);

  /*Configure GPIO pin : IT_PRESS_Pin */
  GPIO_InitStruct.Pin = IT_PRESS_Pin;
  GPIO_InitStruct.Mode = GPIO_MODE_IT_RISING;
  GPIO_InitStruct.Pull = GPIO_NOPULL;
  HAL_GPIO_Init(IT_PRESS_GPIO_Port, &GPIO_InitStruct);

  /*Configure GPIO pins : CS_GYRO_Pin PB3 PB4 */
  GPIO_InitStruct.Pin = CS_GYRO_Pin|GPIO_PIN_3|GPIO_PIN_4;
  GPIO_InitStruct.Mode = GPIO_MODE_OUTPUT_PP;
  GPIO_InitStruct.Pull = GPIO_NOPULL;
  GPIO_InitStruct.Speed = GPIO_SPEED_FREQ_LOW;
  HAL_GPIO_Init(GPIOB, &GPIO_InitStruct);

  /*Configure GPIO pin : CS_ACC_Pin */
  GPIO_InitStruct.Pin = CS_ACC_Pin;
  GPIO_InitStruct.Mode = GPIO_MODE_OUTPUT_PP;
  GPIO_InitStruct.Pull = GPIO_NOPULL;
  GPIO_InitStruct.Speed = GPIO_SPEED_FREQ_LOW;
  HAL_GPIO_Init(CS_ACC_GPIO_Port, &GPIO_InitStruct);

  /*Configure GPIO pins : IT_GYRO_Pin IT_ACC_Pin */
  GPIO_InitStruct.Pin = IT_GYRO_Pin|IT_ACC_Pin;
  GPIO_InitStruct.Mode = GPIO_MODE_IT_RISING;
  GPIO_InitStruct.Pull = GPIO_NOPULL;
  HAL_GPIO_Init(GPIOA, &GPIO_InitStruct);

  /*Configure GPIO pin : PD2 */
  GPIO_InitStruct.Pin = GPIO_PIN_2;
  GPIO_InitStruct.Mode = GPIO_MODE_OUTPUT_PP;
  GPIO_InitStruct.Pull = GPIO_NOPULL;
  GPIO_InitStruct.Speed = GPIO_SPEED_FREQ_LOW;
  HAL_GPIO_Init(GPIOD, &GPIO_InitStruct);

  /* EXTI interrupt init*/
  HAL_NVIC_SetPriority(EXTI0_IRQn, 5, 0);
  HAL_NVIC_EnableIRQ(EXTI0_IRQn);

  HAL_NVIC_SetPriority(EXTI2_IRQn, 5, 0);
  HAL_NVIC_EnableIRQ(EXTI2_IRQn);

  HAL_NVIC_SetPriority(EXTI15_10_IRQn, 5, 0);
  HAL_NVIC_EnableIRQ(EXTI15_10_IRQn);

}

/* USER CODE BEGIN 4 */
static int8_t set_config(struct bmm150_dev *dev) {
    /* Status of api are returned to this variable. */
    int8_t rslt;

    struct bmm150_settings settings;

    /* Set powermode as normal mode */
    settings.pwr_mode = BMM150_POWERMODE_NORMAL;
    rslt = bmm150_set_op_mode(&settings, dev);
    bmm150_error_codes_print_result("bmm150_set_op_mode", rslt);

    if (rslt == BMM150_OK) {
        /* Setting the preset mode as Low power mode
         * i.e. data rate = 10Hz, XY-rep = 1, Z-rep = 2
         */
        settings.preset_mode = BMM150_PRESETMODE_FORCED200;//BMM150_PRESETMODE_HIGHACCURACY;                  // TODO Change it to the desired preset
        rslt = bmm150_set_presetmode(&settings, dev);
        settings.data_rate = BMM150_DATA_RATE_30HZ;                             // TODO Change it to the desired ODR
        bmm150_set_sensor_settings(BMM150_SEL_DATA_RATE, &settings, dev);
        bmm150_error_codes_print_result("bmm150_set_presetmode", rslt);

        if (rslt == BMM150_OK) {
            /* Map the data interrupt pin */
            settings.int_settings.drdy_pin_en = 0x01;
            rslt = bmm150_set_sensor_settings(BMM150_SEL_DRDY_PIN_EN, &settings, dev);
            bmm150_error_codes_print_result("bmm150_set_sensor_settings", rslt);
        }
    }

    return rslt;
}

uint16_t Reverseuint16( uint16_t nonreversed )
{
    uint16_t reversed = 0;

    for ( uint16_t i = 0; i < 16; i++ )
    {
        reversed |= ( nonreversed >> ( 16 - i - 1 ) & 1 ) << i;
    }

    return reversed;
}

uint8_t Reverseuint8( uint8_t nonreversed )
{
    uint8_t reversed = 0;

    for ( uint8_t i = 0; i < 8; i++ )
    {
        reversed |= ( nonreversed >> ( 8 - i - 1 ) & 1 ) << i;
    }

    return reversed;
}

void HAL_GPIO_EXTI_Callback(uint16_t GPIO_Pin)
{
	if(GPIO_Pin == BUTTON_Pin) {
		if(state == 4){state = 5;}
		if(state == 3){state = 4;}
		if(state == 2){state = 3;}
		if(state == 1){state = 2;}
	  } else {
	      __NOP();
	  }

	if(GPIO_Pin == IT_ACC_Pin) {

	 readstart = 1;
  } else {
      __NOP();
  }
  if(GPIO_Pin == IT_MAGN_Pin) {
  	 //HAL_GPIO_TogglePin(GPIOB, GPIO_PIN_4);

  	 billent = 1;
    } else {
        __NOP();
    }
}

void HAL_TIM_IC_CaptureCallback(TIM_HandleTypeDef *htim)
{
	if (htim == &htim2 )
	  {
		HAL_GPIO_TogglePin(GPIOB, GPIO_PIN_4);
		if (htim->Channel == HAL_TIM_ACTIVE_CHANNEL_1)  // if the interrupt source is channel1
		{
			if (Is_First_Captured==0) // if the first value is not captured
			{
				IC_Val1 = HAL_TIM_ReadCapturedValue(htim, TIM_CHANNEL_1); // read the first value
				Is_First_Captured = 1;  // set the first captured as true
				// Now change the polarity to falling edge
				__HAL_TIM_SET_CAPTUREPOLARITY(htim, TIM_CHANNEL_1, TIM_INPUTCHANNELPOLARITY_FALLING);
			}

			else if (Is_First_Captured==1)   // if the first is already captured
			{
				IC_Val2 = HAL_TIM_ReadCapturedValue(htim, TIM_CHANNEL_1);  // read second value
				__HAL_TIM_SET_COUNTER(htim, 0);  // reset the counter

				if (IC_Val2 > IC_Val1)
				{
					Difference = IC_Val2-IC_Val1;
				}

				else if (IC_Val1 > IC_Val2)
				{
					Difference = (0xffff - IC_Val1) + IC_Val2;
				}

				Distance = Difference * .34/2;
				Is_First_Captured = 0; // set it back to false

				// set polarity to rising edge
				__HAL_TIM_SET_CAPTUREPOLARITY(htim, TIM_CHANNEL_1, TIM_INPUTCHANNELPOLARITY_RISING);
				//__HAL_TIM_DISABLE_IT(&htim2, TIM_IT_CC1);
			}
		}
	  }
}

// Callback: timer has rolled over
void HAL_TIM_PeriodElapsedCallback(TIM_HandleTypeDef *htim)
{
  // Check which version of the timer triggered this callback and toggle LED
  if (htim == &htim6 )
  {
	  if(timerse == 1){timerse =0;}
	  if(timerse == 0){timerse =1;}
  }
  if(htim == &htim7){

  }
}

void HAL_UART_TxCpltCallback(UART_HandleTypeDef *huart)
{
	if(huart == &huart2){
			telemetria_data_sent = 1;
	}
}

void HAL_UART_RxCpltCallback(UART_HandleTypeDef *huart)
{
	if(huart ==&huart1){
		debug_i = __HAL_TIM_GET_COUNTER(&htim6);
		if(debug_i < 100){
			CRSF_debug[CRSF_i] = UART1_rxBuffer[0];
			CRSF_i++;
		}
		else{
			if(CRSF_debug[2] == 0x16){
				RX_roll = (((uint16_t)(CRSF_debug[4] & 0b00000111)) << 8) + (uint16_t)(CRSF_debug[3]);
				RX_pitch = (((uint16_t)(CRSF_debug[5] & 0b00111111)) << 5) + (((uint16_t)(CRSF_debug[4] & 0b11111000)) >> 3);
				RX_throttle = (((uint16_t)(CRSF_debug[7] & 0b00000001)) << 10)+ (((uint16_t)(CRSF_debug[6])) << 2) + (((uint16_t)(CRSF_debug[5] & 0b11000000)) >> 6);
				RX_yaw = (((uint16_t)(CRSF_debug[8] & 0b00001111)) << 7) + (((uint16_t)(CRSF_debug[7] & 0b11111110)) >> 1);
				RX_arm = (((uint16_t)(CRSF_debug[9] & 0b01111111)) << 4) + (((uint16_t)(CRSF_debug[8] & 0b11110000)) >> 4);
			}
			CRSF_debug[0] = UART1_rxBuffer[0];
			CRSF_i = 1;
		}
		htim6.Instance->CNT = 0;
	}
	if(huart == &huart2){
		if(uart_telemetria == 1){
			HAL_UART_Receive_IT(&huart2, telem, 11);
		}
		else
			HAL_UART_Receive_IT(&huart2, telem, 11);
	}
}

/* USER CODE END 4 */

void StartDefaultTask(void const * argument)
{
  /* USER CODE BEGIN 5 */
	//HAL_TIM_IC_Start_IT(&htim2, TIM_CHANNEL_1);
//	uint8_t telemetria[8];
	uint8_t telemetria_data[40] = "HELLO WORLD \r\n";
	extern QueueHandle_t telemetria_Queue;
	float telemetria_send[3];

  /* Infinite loop */
  for(;;)
  {
	  if(uart_telemetria == 1){
		  if(telem[0] == 'P'){
			  telem_P = (float)(((uint32_t)telem[1]-48)*1000000+((uint32_t)telem[2]-48)*100000+((uint32_t)telem[3]-48)*10000+((uint32_t)telem[4]-48)*1000+((uint32_t)telem[5]-48)*100+((uint32_t)telem[6]-48)*10+((uint32_t)telem[7]-48))/100000;
			  new_P = 1;
		  }
		  if(telem[0] == 'D'){
			  telem_D = (float)(((uint32_t)telem[1]-48)*1000000+((uint32_t)telem[2]-48)*100000+((uint32_t)telem[3]-48)*10000+((uint32_t)telem[4]-48)*1000+((uint32_t)telem[5]-48)*100+((uint32_t)telem[6]-48)*10+((uint32_t)telem[7]-48))/100000;
			  new_D = 1;
		  }
	  }
	  if (xQueueReceive(telemetria_Queue, (void*)&telemetria_send, 0) == pdTRUE){
		  /*sprintf((char*)telemetria_data, "Yaw: %4.2f\r\n", drone_angle[0]); //%5.2f
//		  sprintf((char*)telemetria_data, "Raw:0,0,0,0,0,0,%d,%d,%d\r\n", (int)((drone_angle[0])*10), (int)((drone_angle[1])*10), (int)(drone_angle[2])*10); //%5.2f
	//	  sprintf((char*)telemetria_data, "Yaw: 115.47\r\n");
		  HAL_UART_Transmit (&huart2, telemetria_data, sizeof (telemetria_data), 200);
*/

		  if(telemetria_data_sent == 1){
		  			  sprintf((char*)telemetria_data, "%4.3f,%4.3f,%4.3f\r\n", telemetria_send[0], telemetria_send[1], telemetria_send[2]); //%5.2f
//		  			  sprintf((char*)telemetria_data, "%2.2f, %2.2f, %2.2f, %3.2f, %3.2f, %3.2f, %4.1f, %4.1f, %4.1f, %3.1f, %3.1f, %3.1f, %3.1f, %3.1f, %3.1f, %3.1f, %3.1f, %3.1f, %3.1f\r\n", telemetria_send[0], telemetria_send[1], telemetria_send[2], telemetria_send[3], telemetria_send[4], telemetria_send[5], telemetria_send[6], telemetria_send[7], telemetria_send[8], telemetria_send[9], telemetria_send[10], telemetria_send[11], telemetria_send[12],telemetria_send[13], telemetria_send[14], telemetria_send[15], telemetria_send[16], telemetria_send[17], telemetria_send[18]); //%5.2f
		  			  HAL_UART_Transmit_IT(&huart2, telemetria_data, sizeof (telemetria_data));
		  			  telemetria_data_sent = 0;
		  		  }
	  }

	  osDelay(20);
  }
  /* USER CODE END 5 */
}

void Start_Control(void const * argument)
{
  /* USER CODE BEGIN Start_Control */
	extern QueueHandle_t telemetria_Queue;

	//Magneto 1.2 calibration
	FusionVector magneto_offset = {-10.254290, 1.8038, -4.628919};
	FusionMatrix magneto_transform = {1.030904, 0.011754, -0.008844, 0.011754, 1.040290, -0.000902, -0.008844, -0.000902, 1.008504};

	//no calibration
//	FusionVector magneto_offset = {0, 0, 0};
//	FusionMatrix magneto_transform = {1,0,0,0,1,0,0,0,1};
	FusionVector magneto_data;

	//pitch angle velocity control params
	float err_pitch = 0;
	float errd_pitch = 0;
	float prev_err_pitch = 0;
	float control_pitch = 0;
	float P_pitch = 20;
	float D_pitch = 0.1;

	//pitch angle control params
	float err_angle_pitch = 0;
	float errd_angle_pitch = 0;
	float prev_err_angle_pitch = 0;
	float angle_control_pitch = 0;
	float P_angle_pitch = 0.04;
	float D_angle_pitch = 0.0001;//0.005;

	//roll angle velocity control params
	float err_roll = 0;
	float errd_roll = 0;
	float prev_err_roll = 0;
	float control_roll = 0;
	float P_roll = 5;
	float D_roll = 0.1;//0.4

	//roll angle control params
	float P_angle_roll = 0.2;
	float D_angle_roll = 0.0001;//0.005;
	float err_angle_roll = 0;
	float errd_angle_roll = 0;
	float prev_err_angle_roll = 0;
	float angle_control_roll = 0;

	//yaw angle velocity control params
	float err_yaw = 0;
	float errd_yaw = 0;
	float prev_err_yaw = 0;
	float control_yaw = 0;
	float P_yaw = 20;
	float D_yaw = 0.1;

	//yaw angle control params
	float P_angle_yaw = 0.8;//0.04;
	float D_angle_yaw = 0.000;//0.005;
	float err_angle_yaw = 0;
	float errd_angle_yaw = 0;
	float prev_err_angle_yaw = 0;
	float angle_control_yaw = 0;

	float yaw_angle = 0;
	float prev_euler_yaw = 0;
	int n = 0;

	//imu init function
	BMI088_Init(&imu, &hspi2, CS_ACC_GPIO_Port, CS_ACC_Pin, CS_GYRO_GPIO_Port, CS_GYRO_Pin);

	//bmp388 pressure sensor init
	bmp._hi2c = &hi2c2;

	BMP388_SetTempOS(&bmp, 0);
	HAL_Delay(10);
	BMP388_SetPressOS(&bmp, 0x03);
	HAL_Delay(10);
	BMP388_SetIIRFilterCoeff(&bmp, 2);
	HAL_Delay(10);
	BMP388_SetOutputDataRate(&bmp, 0x02);
	HAL_Delay(10);
	BMP388_Init(&bmp);

	//gyro offset calculation
	for(int i_init = 0; i_init<2000; i_init++ ){
	  BMI088_ReadGyroscope(&imu);
	  gyro_offset_x_calc += imu.gyr_rps[0];
	  gyro_offset_y_calc += imu.gyr_rps[1];
	  gyro_offset_z_calc += imu.gyr_rps[2];
	  osDelay(5);
	}

	//barometer offset calculation
	for(int i_init = 0; i_init<100; i_init++ ){ //100 seems to work
	  BMP388_ReadRawPressTempTime(&bmp, &raw_press, &raw_temp, &raw_time);
	  BMP388_CompensateRawPressTemp(&bmp, raw_press, raw_temp, &press, &temp);
	  h0 += BMP388_FindAltitude(ground_pressure, press);
	  p0 += press;
	  osDelay(20);
	}

	h0 /= 100;
	p0 /= 100;
	p0 -= ground_pressure;
	gyro_offset_x = gyro_offset_x_calc/2000;
	gyro_offset_y = gyro_offset_y_calc/2000;
	gyro_offset_z = gyro_offset_z_calc/2000;

	 //BOSCH API
	 /* Sensor initialization configuration. */
	struct bmm150_dev dev;
	struct bmm150_mag_data mag_data;
	struct bmm150_settings settings;

	/* Status of api are returned to this variable */
	int8_t rslt;

	rslt = bmm150_interface_selection(&dev);
	bmm150_error_codes_print_result("bmm150_interface_selection", rslt);

	if (rslt == BMM150_OK) {
			rslt = bmm150_init(&dev);
			bmm150_error_codes_print_result("bmm150_init", rslt);

			if (rslt == BMM150_OK) {
				rslt = set_config(&dev);
				bmm150_error_codes_print_result("set_config", rslt);
			}
		}

	//BOSCH API

	uint8_t transmit_data[40];
	float telemetria_float[3];

	q.SEq_1=1;
	q.SEq_2=0;
	q.SEq_3=0;
	q.SEq_4=0;

	w.w_bx=0;
	w.w_by=0;
	w.w_bz=0;

	HAL_TIM_Base_Start_IT(&htim6);
	HAL_TIM_Base_Start_IT(&htim7);
	FusionAhrsInitialise(&ahrs);

	HAL_GPIO_WritePin(GPIOB, GPIO_PIN_3, GPIO_PIN_RESET);
	HAL_Delay(100);
	HAL_GPIO_WritePin(GPIOB, GPIO_PIN_3, GPIO_PIN_SET);
	HAL_Delay(100);
	HAL_GPIO_WritePin(GPIOB, GPIO_PIN_3, GPIO_PIN_RESET);
	HAL_Delay(100);
	HAL_GPIO_WritePin(GPIOB, GPIO_PIN_3, GPIO_PIN_SET);
	HAL_Delay(100);
	HAL_GPIO_WritePin(GPIOB, GPIO_PIN_3, GPIO_PIN_RESET);
	HAL_Delay(100);
	HAL_GPIO_WritePin(GPIOB, GPIO_PIN_3, GPIO_PIN_SET);
	HAL_Delay(100);
	HAL_GPIO_WritePin(GPIOB, GPIO_PIN_3, GPIO_PIN_RESET);

	HAL_UART_Receive_DMA(&huart1, UART1_rxBuffer, bytetoread);
	HAL_UART_Transmit_IT(&huart2, transmit_data, sizeof (transmit_data));
//	HAL_UART_Receive_IT(&huart2, telem, 11);

	vTaskResume( defaultTaskHandle );

  /* Infinite loop */
  for(;;)
  {

		  htim7.Instance->CNT = 0;
		  //BOSCH API NORMAL MAGNETO START
//	  	  bmm150_get_interrupt_status(&dev);
//	  	  if (dev.int_status & BMM150_INT_ASSERTED_DRDY) {
//	  		  /* Read mag data */
//	  		  bmm150_read_mag_data(&mag_data, &dev);
//	  	  }

		  //BOSCH API NORMAL MAGNETO END

		  //BOSCH API FORCED MAGNETO START

		  bmm150_read_mag_data(&mag_data, &dev);

		  settings.pwr_mode = BMM150_POWERMODE_FORCED;
		  rslt = bmm150_set_op_mode(&settings, &dev);
		  bmm150_error_codes_print_result("bmm150_set_op_mode", rslt);

		//BOSCH API FORCED MAGNETO END

		  // magnetic field data in uT
		  magneto_data.axis.x = mag_data.y;
		  magneto_data.axis.y = -mag_data.x;
		  magneto_data.axis.z = mag_data.z;

		  //read IMU
		  BMI088_ReadGyroscope(&imu);	// imu read 119 us
		  BMI088_ReadAccelerometer(&imu);

		  //read barometer
		  BMP388_ReadRawPressTempTime(&bmp, &raw_press, &raw_temp, &raw_time); //2.46 ms - 400kHz

		  //compensate barometer
		  BMP388_CompensateRawPressTemp(&bmp, raw_press, raw_temp, &press, &temp); //2.7 us
		  hz = BMP388_FindAltitude(ground_pressure, press-p0);

		  // compensate gyro data with offset
		  gyro_x_degree = ((imu.gyr_rps[0]-gyro_offset_x)*57.29);
		  gyro_y_degree = ((imu.gyr_rps[1]-gyro_offset_x)*57.29);
		  gyro_z_degree = ((imu.gyr_rps[2]-gyro_offset_x)*57.29);

		  // compensate magneto data
		  magneto_data = FusionMatrixMultiplyVector(magneto_transform, FusionVectorSubtract(magneto_data, magneto_offset));

		  const FusionVector gyroscope = {gyro_x_degree, gyro_y_degree, gyro_z_degree};
		  const FusionVector accelerometer = {imu.acc_mps2[0]/9.81, imu.acc_mps2[1]/9.81, imu.acc_mps2[2]/9.81};
		  const FusionVector magnetometer = {magneto_data.axis.x, magneto_data.axis.y, magneto_data.axis.z};

		  //no magnetometer AHRS
//		  FusionAhrsUpdateNoMagnetometer(&ahrs, gyroscope, accelerometer, SAMPLE_PERIOD);

		  //magnetometer AHRS
		  FusionAhrsUpdate(&ahrs, gyroscope, accelerometer, magnetometer, SAMPLE_PERIOD);

		  euler = FusionQuaternionToEuler(FusionAhrsGetQuaternion(&ahrs));

		  // Rotation matrix from sensor frame to earth(NWU) frame
		  ERS = FusionQuaternionToMatrix(FusionAhrsGetQuaternion(&ahrs));
		  aE = FusionMatrixMultiplyVector(ERS, FusionVectorMultiplyScalar(accelerometer, 9.81));
		  // calculate vertical acceleration
		  aE.axis.z -=9.85173;

		  // altitude KF filter
		  meas.a11 = hz;
		  meas.a21 = aE.axis.z;
		  altitudeKF(prev_state, &current_state, P_prev, &P, meas);

		  // calculate rotation around yaw axis
		  if(prev_euler_yaw > 170 && euler.angle.yaw < 0){
			  n++;
		  }
		  if(prev_euler_yaw < -170 && euler.angle.yaw > 0){
			  n--;
		  }
		  yaw_angle = euler.angle.yaw + n * 360.0;
		  abs_yaw = yaw_angle;
		  prev_euler_yaw = euler.angle.yaw;

		  //radio control references
		  M_throttle = CRSFtoDuty(RX_throttle);
		  M_pitch = CRSFtoPitch(RX_pitch)*25;
		  M_roll = CRSFtoRoll(RX_roll)*15;
		  M_yaw += CRSFtoYaw(RX_yaw)*0.3;

		  //pitch angle control
		  err_angle_pitch = M_pitch - euler.angle.pitch;
		  errd_angle_pitch = (err_angle_pitch - prev_err_angle_pitch)/SAMPLE_PERIOD;
		  angle_control_pitch = P_angle_pitch * err_angle_pitch + D_angle_pitch * errd_angle_pitch;
		  prev_err_angle_pitch = err_angle_pitch;
		  //debug_control1 = err_angle_pitch;

		  //pitch angle velocity control
		  err_pitch = angle_control_pitch - imu.gyr_rps[1];
		  errd_pitch = (err_pitch - prev_err_pitch)/SAMPLE_PERIOD;
		  prev_err_pitch = err_pitch;
		  control_pitch = P_pitch * err_pitch + D_pitch * errd_pitch;

		  //roll angle control
		  err_angle_roll = M_roll - euler.angle.roll;
		  errd_angle_roll = (err_angle_roll - prev_err_angle_roll)/SAMPLE_PERIOD;
		  angle_control_roll = P_angle_roll * err_angle_roll + D_angle_roll * errd_angle_roll;
		  prev_err_angle_roll = err_angle_roll;
		  //debug_control1 = err_angle_roll;

		  //roll angle velocity control
		  err_roll = angle_control_roll - imu.gyr_rps[0]; //M_roll
		  errd_roll = (err_roll - prev_err_roll)/SAMPLE_PERIOD;
		  prev_err_roll = err_roll;
		  control_roll = P_roll * err_roll + D_roll * errd_roll;
		  //debug_control2 = control_roll;

		  //yaw angle control
		  err_angle_yaw = M_yaw - euler.angle.yaw;
		  errd_angle_yaw = (err_angle_yaw - prev_err_angle_yaw)/SAMPLE_PERIOD;
		  angle_control_yaw = P_angle_yaw * err_angle_yaw + D_angle_yaw * errd_angle_yaw;
		  prev_err_angle_yaw = err_angle_yaw;

		  //yaw angle velocity control
		  err_yaw = angle_control_yaw - imu.gyr_rps[2]; //angle_control_yaw
		  errd_yaw = (err_yaw - prev_err_yaw)/SAMPLE_PERIOD;
		  prev_err_yaw = err_yaw;
		  control_yaw = P_yaw * err_yaw + D_yaw * errd_yaw;

		  if(RX_arm > 1000){ // arming turn on
			  uart_telemetria = 0;
			  //pitch
//			  ref1 = (uint16_t)(M_throttle - control_pitch);
//			  ref2 = (uint16_t)(M_throttle - control_pitch);
//			  ref3 = (uint16_t)(M_throttle + control_pitch);
//			  ref4 = (uint16_t)(M_throttle + control_pitch);

			  //roll
//			  ref1 = (uint16_t)(M_throttle + control_roll);
//			  ref2 = (uint16_t)(M_throttle - control_roll);
//			  ref3 = (uint16_t)(M_throttle - control_roll);
//			  ref4 = (uint16_t)(M_throttle + control_roll);

			  //yaw
//			  ref1 = (uint16_t)(M_throttle - control_yaw);
//			  ref2 = (uint16_t)(M_throttle + control_yaw);
//			  ref3 = (uint16_t)(M_throttle - control_yaw);
//			  ref4 = (uint16_t)(M_throttle + control_yaw);

			  //all together
			  ref1 = (uint16_t)(M_throttle - control_yaw - control_pitch + control_roll);
			  ref2 = (uint16_t)(M_throttle + control_yaw - control_pitch - control_roll);
			  ref3 = (uint16_t)(M_throttle - control_yaw + control_pitch - control_roll);
			  ref4 = (uint16_t)(M_throttle + control_yaw + control_pitch + control_roll);

//			  ref1 = (uint16_t)(M_throttle - control_pitch + control_roll);
//			  ref2 = (uint16_t)(M_throttle - control_pitch - control_roll);
//			  ref3 = (uint16_t)(M_throttle + control_pitch - control_roll);
//			  ref4 = (uint16_t)(M_throttle + control_pitch + control_roll);

			  // ESC calibration
//			  ref1 = (uint16_t)(M_throttle);
//			  ref2 = (uint16_t)(M_throttle);
//			  ref3 = (uint16_t)(M_throttle);
//			  ref4 = (uint16_t)(M_throttle);

			  // minimum limit for motor refs
			  if(ref1<550) ref1 = 550;
			  if(ref2<550) ref2 = 550;
			  if(ref3<550) ref3 = 550;
			  if(ref4<550) ref4 = 550;

			  // maximum limit for motor refs
			  if(ref1>950) ref1 = 950;
			  if(ref2>950) ref2 = 950;
			  if(ref3>950) ref3 = 950;
			  if(ref4>950) ref4 = 950;

		  }
		  else{ //arming turn off
			  uart_telemetria = 1;
			  if(new_P == 1){
				  P_yaw = telem_P;
				  new_P = 0;
			  }
			  if(new_D == 1){
				  D_yaw = telem_D;
				  new_D = 0;
			  }
			  ref1 = 550;
			  ref2 = 550;
			  ref3 = 550;
			  ref4 = 550;
		  }

		  //telemetria
		  telemetria_float[0] = hz;
		  telemetria_float[1] = h0;
		  telemetria_float[2] = p0;
		  xQueueSendToFront(telemetria_Queue, (void*)&telemetria_float, 0);

		  set_duty_Oneshot42(&htim3, ref1, ref2, ref3, ref4);
		  mytimer = __HAL_TIM_GET_COUNTER(&htim7);
	osDelay(4);
  }
  /* USER CODE END Start_Control */
}

void Error_Handler(void)
{
  __disable_irq();
  while (1)
  {
  }
}
